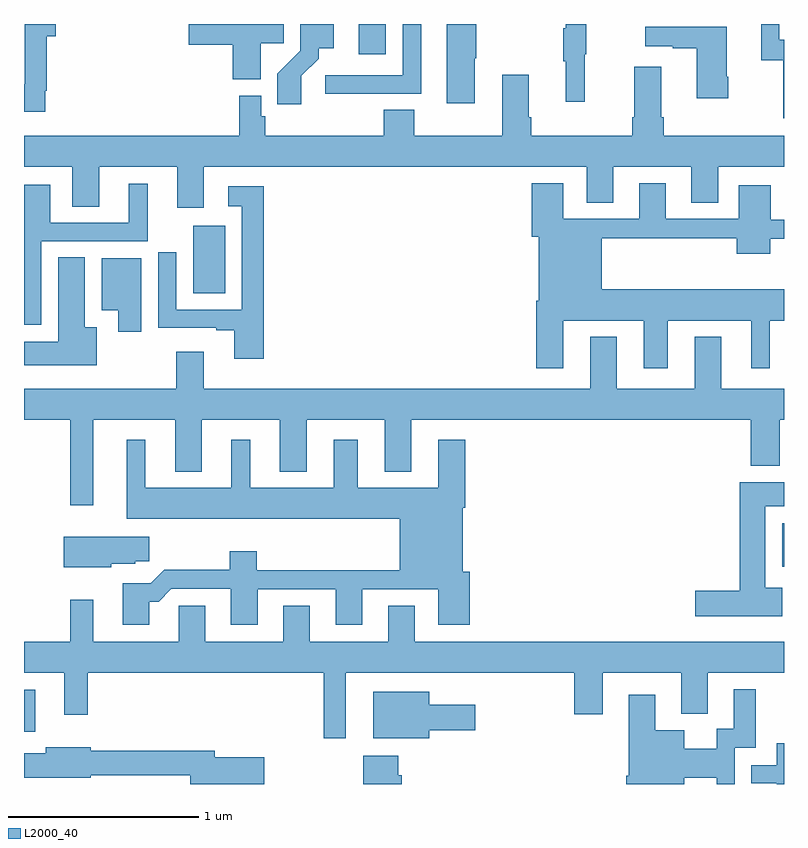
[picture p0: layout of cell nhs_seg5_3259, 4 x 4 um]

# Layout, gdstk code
import gdstk
lib = gdstk.Library(unit=1e-6, precision=1e-09)
def R(c, l, rs):  # rectangles x0, y0, x1, y1
    for r in rs: c.add(gdstk.rectangle(r[:2], r[2:], *l))
def P(c, l, *ps):  # polygons
    for p in ps: c.add(gdstk.Polygon(p, *l))
L2000_40 = (2000, 40)

nhs_seg5_3259 = lib.new_cell('nhs_seg5_3259')
R(nhs_seg5_3259, L2000_40, [(299,899.075,299.059,899.296), (302.99,899.942,303,900.172), (299.891,901.381,300.058,901.738), (300.761,902.64,300.904,902.799)])
P(nhs_seg5_3259, L2000_40, [(303,902.715),(302.976,902.715),(302.976,902.799),(302.879,902.799),(302.879,902.607),(302.997,902.607),(302.997,902.304),(303,902.304)],
  [(301.372,902.62),(301.38,902.62),(301.38,902.799),(301.226,902.799),(301.226,902.382),(301.372,902.382)],
  [(300.809,902.433),(301.09,902.433),(301.09,902.799),(300.993,902.799),(300.993,902.529),(300.585,902.529),(300.585,902.431),(300.809,902.431)],
  [(300.247,902.698),(300.368,902.698),(300.368,902.799),(299.868,902.799),(299.868,902.689),(300.098,902.689),(300.098,902.507),(300.247,902.507)],
  [(301.952,902.64),(301.96,902.64),(301.96,902.799),(301.85,902.799),(301.85,902.777),(301.839,902.777),(301.839,902.603),(301.85,902.603),(301.85,902.391),(301.952,902.391)],
  [(299.113,902.449),(299.12,902.449),(299.12,902.735),(299.167,902.735),(299.167,902.799),(299.004,902.799),(299.004,902.481),(299,902.481),(299,902.337),(299.113,902.337)],
  [(300.46,902.527),(300.55,902.617),(300.55,902.672),(300.631,902.672),(300.631,902.799),(300.453,902.799),(300.453,902.657),(300.334,902.538),(300.334,902.376),(300.46,902.376)],
  [(302.706,902.521),(302.698,902.521),(302.698,902.785),(302.271,902.785),(302.271,902.681),(302.414,902.681),(302.414,902.671),(302.54,902.671),(302.54,902.409),(302.706,902.409)],
  [(301.961,901.858),(302.101,901.858),(302.101,902.048),(302.513,902.048),(302.513,901.858),(302.653,901.858),(302.653,902.048),(303,902.048),(303,902.212),(302.366,902.212),(302.366,902.308),(302.353,902.308),(302.353,902.575),(302.213,902.575),(302.213,902.308),(302.201,902.308),(302.201,902.212),(301.67,902.212),(301.67,902.308),(301.657,902.308),(301.657,902.533),(301.517,902.533),(301.517,902.212),(301.053,902.212),(301.053,902.348),(300.893,902.348),(300.893,902.212),(300.269,902.212),(300.269,902.313),(300.249,902.313),(300.249,902.422),(300.133,902.422),(300.133,902.212),(299,902.212),(299,902.048),(299.255,902.048),(299.255,901.837),(299.395,901.837),(299.395,902.048),(299.807,902.048),(299.807,901.833),(299.947,901.833),(299.947,902.048),(301.961,902.048)],
  [(301.837,901.238),(302.261,901.238),(302.261,900.987),(302.389,900.987),(302.389,901.238),(302.828,901.238),(302.828,900.987),(302.926,900.987),(302.926,901.238),(303,901.238),(303,901.402),(302.041,901.402),(302.041,901.672),(302.75,901.672),(302.75,901.589),(302.928,901.589),(302.928,901.67),(303,901.67),(303,901.77),(302.929,901.77),(302.929,901.951),(302.762,901.951),(302.762,901.773),(302.377,901.773),(302.377,901.96),(302.237,901.96),(302.237,901.773),(301.837,901.773),(301.837,901.96),(301.673,901.96),(301.673,901.68),(301.709,901.68),(301.709,901.342),(301.697,901.342),(301.697,900.987),(301.837,900.987)],
  [(299.091,901.656),(299.651,901.656),(299.651,901.957),(299.552,901.957),(299.552,901.752),(299.137,901.752),(299.137,901.954),(299,901.954),(299,901.215),(299.091,901.215)],
  [(300.263,901.945),(300.075,901.945),(300.075,901.839),(300.147,901.839),(300.147,901.296),(299.802,901.296),(299.802,901.597),(299.706,901.597),(299.706,901.2),(300.011,901.2),(300.011,901.188),(300.107,901.188),(300.107,901.038),(300.263,901.038)],
  [(299.383,901.204),(299.32,901.204),(299.32,901.571),(299.18,901.571),(299.18,901.126),(299,901.126),(299,901.004),(299.383,901.004)],
  [(299.617,901.567),(299.408,901.567),(299.408,901.292),(299.495,901.292),(299.495,901.179),(299.617,901.179)],
  [(299.365,900.716),(299.795,900.716),(299.795,900.443),(299.935,900.443),(299.935,900.716),(300.347,900.716),(300.347,900.443),(300.487,900.443),(300.487,900.716),(300.899,900.716),(300.899,900.443),(301.039,900.443),(301.039,900.716),(302.825,900.716),(302.825,900.473),(302.977,900.473),(302.977,900.716),(303,900.716),(303,900.88),(302.671,900.88),(302.671,901.153),(302.531,901.153),(302.531,900.88),(302.119,900.88),(302.119,901.153),(301.979,901.153),(301.979,900.88),(299.947,900.88),(299.947,901.075),(299.8,901.075),(299.8,900.88),(299,900.88),(299,900.716),(299.244,900.716),(299.244,900.267),(299.365,900.267)],
  [(299.659,899.759),(299.708,899.759),(299.775,899.826),(300.089,899.826),(300.089,899.637),(300.229,899.637),(300.229,899.823),(300.641,899.823),(300.641,899.637),(300.781,899.637),(300.781,899.823),(301.181,899.823),(301.181,899.637),(301.346,899.637),(301.346,899.916),(301.309,899.916),(301.309,900.254),(301.322,900.254),(301.322,900.61),(301.181,900.61),(301.181,900.358),(300.757,900.358),(300.757,900.61),(300.629,900.61),(300.629,900.358),(300.19,900.358),(300.19,900.61),(300.092,900.61),(300.092,900.358),(299.638,900.358),(299.638,900.61),(299.54,900.61),(299.54,900.194),(300.977,900.194),(300.977,899.924),(300.224,899.924),(300.224,900.025),(300.082,900.025),(300.082,899.927),(299.738,899.927),(299.667,899.856),(299.519,899.856),(299.519,899.637),(299.659,899.637)],
  [(302.992,899.833),(302.902,899.833),(302.902,900.26),(303,900.26),(303,900.388),(302.768,900.388),(302.768,899.816),(302.532,899.816),(302.532,899.681),(302.992,899.681)],
  [(299.46,899.957),(299.586,899.957),(299.586,899.971),(299.659,899.971),(299.659,900.1),(299.21,900.1),(299.21,899.939),(299.46,899.939)],
  [(300.365,899.738),(300.365,899.548),(299.953,899.548),(299.953,899.738),(299.814,899.738),(299.814,899.548),(299.365,899.548),(299.365,899.77),(299.244,899.77),(299.244,899.548),(299,899.548),(299,899.384),(299.213,899.384),(299.213,899.163),(299.335,899.163),(299.335,899.384),(300.577,899.384),(300.577,899.04),(300.694,899.04),(300.694,899.384),(301.895,899.384),(301.895,899.166),(302.047,899.166),(302.047,899.384),(302.459,899.384),(302.459,899.168),(302.599,899.168),(302.599,899.384),(303,899.384),(303,899.548),(301.057,899.548),(301.057,899.738),(300.917,899.738),(300.917,899.548),(300.505,899.548),(300.505,899.738)],
  [(302.476,898.832),(302.646,898.832),(302.646,898.799),(302.742,898.799),(302.742,898.989),(302.851,898.989),(302.851,899.299),(302.735,899.299),(302.735,899.09),(302.645,899.09),(302.645,898.984),(302.476,898.984),(302.476,899.083),(302.323,899.083),(302.323,899.269),(302.183,899.269),(302.183,898.843),(302.171,898.843),(302.171,898.799),(302.476,898.799)],
  [(301.132,899.081),(301.375,899.081),(301.375,899.215),(301.132,899.215),(301.132,899.284),(300.839,899.284),(300.839,899.039),(301.132,899.039)],
  [(303,899.013),(302.961,899.013),(302.961,898.899),(302.827,898.899),(302.827,898.803),(302.961,898.803),(302.961,898.799),(303,898.799)],
  [(300.265,898.941),(300.004,898.941),(300.004,898.975),(299.35,898.975),(299.35,898.993),(299.114,898.993),(299.114,898.961),(299,898.961),(299,898.832),(299.35,898.832),(299.35,898.846),(299.876,898.846),(299.876,898.799),(300.265,898.799)],
  [(300.989,898.844),(300.969,898.844),(300.969,898.948),(300.786,898.948),(300.786,898.799),(300.989,898.799)])

lib.write_gds('nhs_seg5_3259.gds')
